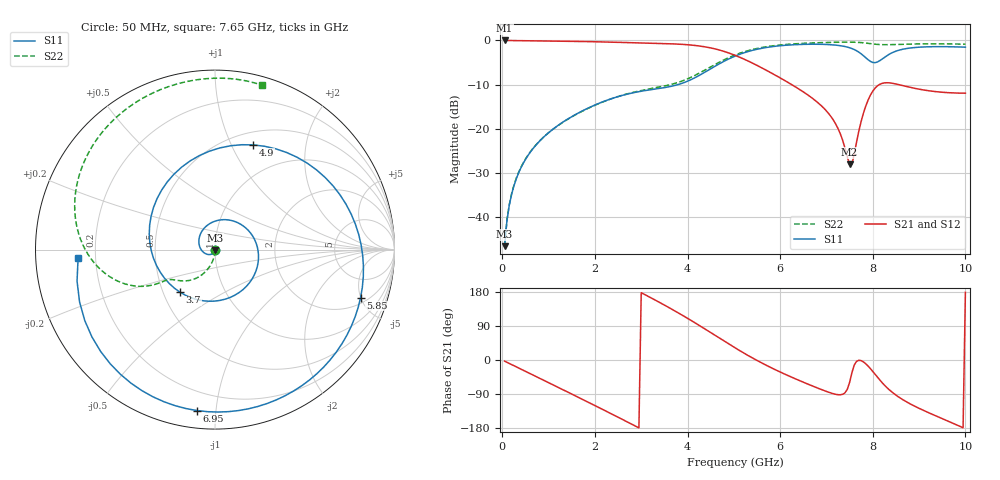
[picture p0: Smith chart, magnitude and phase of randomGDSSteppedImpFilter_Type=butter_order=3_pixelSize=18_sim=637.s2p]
! freq	dB(S11)	phase(S11)	dB(S12)	phase(S12)
!  dB(S21)	phase(S21)	dB(S22)	phase(S22)
!S-par simulation data
#  GHz  S  DB  R 50
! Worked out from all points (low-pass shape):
!   200 points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, 50 MHz to 10 GHz, reference 50 ohm
!   highest |S21| = 0.00 dB at 50 MHz (marker M1); lowest = -28.1 dB at 7.5 GHz (marker M2)
!   |S21| within 3 dB of the highest: start of sweep to 4.935 GHz
!   lowest |S11| = -46.5 dB at 50 MHz (marker M3), VSWR 1.01, Z = 50 - j0.471 ohm
!   |S11| at or under -10 dB: start of sweep to 3.791 GHz
!   |S22| runs from -46.5 to -0.4 dB; largest |S21 - S12| = 0
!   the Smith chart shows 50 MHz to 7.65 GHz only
!   S11 on the Smith chart (normalised r, x): 50 MHz: 1.00, -0.01; 3.7 GHz: 0.61, -0.32; 4.9 GHz: 0.64, +1.22; 5.85 GHz: 2.53, -5.00; 6.95 GHz: 0.09, -0.89; 7.65 GHz: 0.13, -0.03
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0.05  -46.54 -91.3  -0.00 -3.0  -0.00 -3.0  -46.49 -85.7
0.2  -34.85 -109.8  -0.02 -12.0  -0.02 -12.0  -34.73 -92.1
0.5  -26.92 -142.4  -0.05 -29.9  -0.05 -29.9  -26.83 -98.2
1.15  -19.63 149.1  -0.13 -68.8  -0.13 -68.8  -19.65 -108.6
1.75  -15.82 86.5  -0.24 -105.0  -0.24 -105.0  -15.89 -117.9
2.65  -12.27 -6.3  -0.47 -160.3  -0.47 -160.3  -12.22 -134.6
3.4  -10.84 -90.4  -0.68 151.7  -0.68 151.7  -10.52 -146.0
3.7  -10.25 -129.5  -0.79 131.4  -0.79 131.4  -9.80 -147.9
4.3  -7.63 145.6  -1.32 87.7  -1.32 87.7  -7.13 -152.4
4.9  -4.13 69.8  -2.87 41.5  -2.87 41.5  -3.84 -169.6
5.05  -3.44 53.5  -3.47 30.3  -3.47 30.3  -3.19 -175.8
5.85  -1.37 -18.2  -7.59 -23.0  -7.59 -23.0  -1.21 148.9
6.7  -0.85 -78.2  -13.11 -68.7  -13.11 -68.7  -0.56 113.3
6.95  -0.89 -96.4  -15.40 -80.7  -15.40 -80.7  -0.48 103.2
7.5  -1.66 -151.4  -28.05 -59.2  -28.05 -59.2  -0.39 80.6
7.65  -2.33 -176.4  -22.99 -3.6  -22.99 -3.6  -0.42 74.2
8  -4.99 79.5  -11.47 -30.4  -11.47 -30.4  -0.79 60.2
8.15  -4.59 23.5  -9.93 -52.7  -9.93 -52.7  -0.94 55.4
8.35  -3.16 -29.1  -9.59 -77.9  -9.59 -77.9  -0.96 49.2
8.6  -2.11 -67.9  -10.09 -101.0  -10.09 -101.0  -0.88 40.6
8.95  -1.56 -101.9  -10.93 -124.6  -10.93 -124.6  -0.80 27.7
10  -1.52 -176.3  -11.93 178.4  -11.93 178.4  -0.83 -12.2
